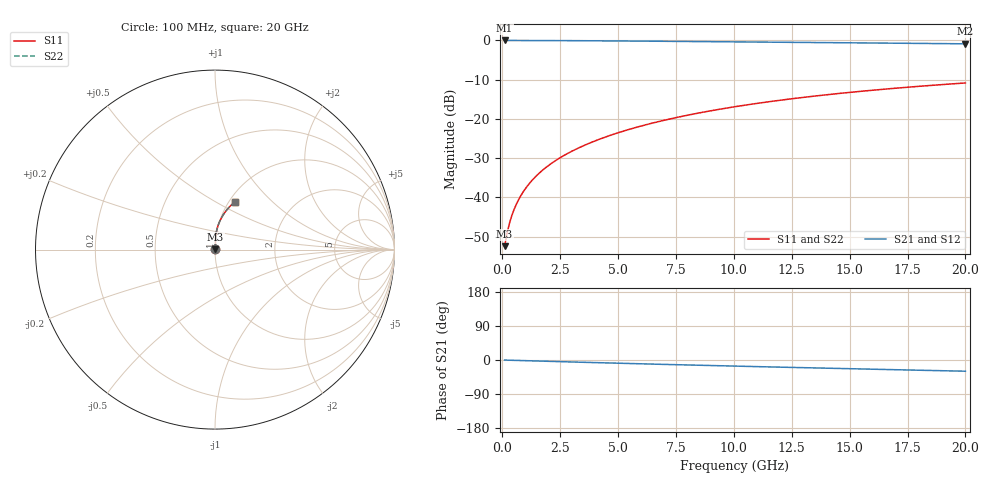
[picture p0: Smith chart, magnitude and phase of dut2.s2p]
! Touchstone file exported from HFSS 2024.1.0
!  File:  C:/UserFiles/LocalFiles/RDL_TSV_Batchsim/temp_RDL_top_2_1778679436.aedt
!  Generated:  09:39:56 PM May 13, 2026
!  Design:  RDL_top
!  Project:  temp_RDL_top_2_1778679436
!  Setup:  Setup1
!  Solution:  Sweep
! Variables:
!  dtsv = 10.80580581um
!  hbump = 3um
!  htsv = 82.58um
!  ldown = 100um
!  lrdl = 395.12um
!  p = 40
!  p1 = 52.73um
!  rhole = 1um
!  t = 450um
!  tdown = 3.915915916um
!  trdl = 3.42um
!  wdown = 15.38538539um
!  wrdl = 24.09um
# GHz S MA R 50.000000
! Terminal data exported
! Port[1] = Box2_T1
! Port[2] = Box2_T2
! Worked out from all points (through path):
!   200 points, 100 MHz to 20 GHz, reference 50 ohm
!   highest |S21| = -0.02 dB at 100 MHz (marker M1); lowest = -0.9 dB at 20 GHz (marker M2)
!   group delay of S21, straight-line fit = 4.07 ps
!   lowest |S11| = -52.5 dB at 100 MHz (marker M3), VSWR 1.00, Z = 50.2 + j0.14 ohm
!   |S11| at or under -10 dB: start of sweep to end of sweep
!   |S22| runs from -52.5 to -10.9 dB; largest |S21 - S12| = 3.4e-15
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0.1  0.002381 35.9  0.9981 -0.2  0.9981 -0.2  0.002381 35.9
! Gamma 0 0 0 0
! Port Impedance 50 0 50 0
0.2  0.003406 53.6  0.9979 -0.4  0.9979 -0.4  0.003406 53.6
0.3  0.004548 62.2  0.9978 -0.5  0.9978 -0.5  0.004548 62.2
0.4  0.005713 67.4  0.9977 -0.7  0.9977 -0.7  0.005713 67.4
0.5  0.006888 71.0  0.9976 -0.9  0.9976 -0.9  0.006888 71.0
0.6  0.008074 73.6  0.9974 -1.1  0.9974 -1.1  0.008074 73.6
0.8  0.01048 77.2  0.9972 -1.4  0.9972 -1.4  0.01048 77.2
1.1  0.01414 80.5  0.9968 -1.9  0.9968 -1.9  0.01414 80.5
1.3  0.01663 82.0  0.9965 -2.3  0.9965 -2.3  0.01663 82.0
1.6  0.02039 83.6  0.9959 -2.8  0.9959 -2.8  0.02039 83.6
2.1  0.02677 85.2  0.9948 -3.7  0.9948 -3.7  0.02677 85.2
2.7  0.0346 86.3  0.9931 -4.7  0.9931 -4.7  0.0346 86.3
3.5  0.04535 87.1  0.9903 -6.0  0.9903 -6.0  0.04535 87.1
4.2  0.05504 87.3  0.9875 -7.2  0.9875 -7.2  0.05503 87.3
5  0.06642 87.2  0.9839 -8.5  0.9839 -8.5  0.06642 87.2
6.8  0.09302 86.0  0.9751 -11.3  0.9751 -11.3  0.09301 86.0
8.4  0.1174 84.3  0.9667 -13.7  0.9667 -13.7  0.1174 84.3
10.1  0.1436 82.0  0.9577 -16.2  0.9577 -16.2  0.1435 82.0
11.7  0.1681 79.8  0.9492 -18.5  0.9492 -18.5  0.1681 79.7
13.4  0.1937 77.2  0.9402 -20.8  0.9402 -20.8  0.1937 77.2
16.7  0.2417 72.3  0.9225 -25.3  0.9225 -25.3  0.2417 72.3
20  0.2867 67.5  0.9046 -29.6  0.9046 -29.6  0.2866 67.5
